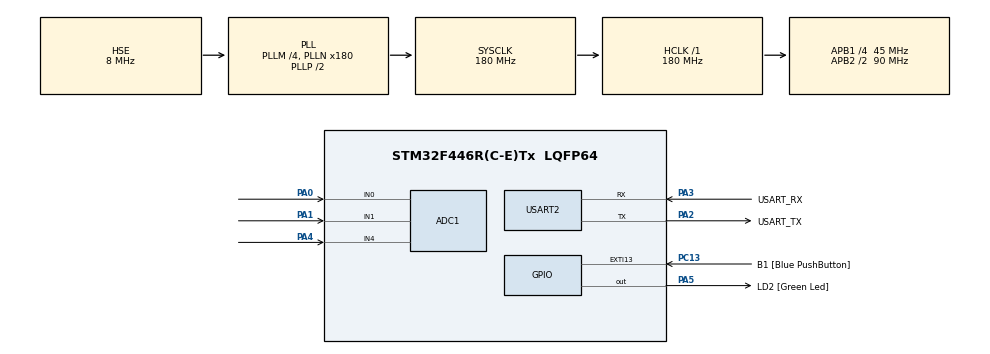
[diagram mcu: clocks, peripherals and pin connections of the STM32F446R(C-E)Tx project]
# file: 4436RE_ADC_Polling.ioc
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ADC1.Channel-2\#ChannelRegularConversion=ADC_CHANNEL_0
ADC1.Channel-3\#ChannelRegularConversion=ADC_CHANNEL_1
ADC1.Channel-4\#ChannelRegularConversion=ADC_CHANNEL_4
ADC1.ContinuousConvMode=ENABLE
ADC1.NbrOfConversion=3
ADC1.NbrOfConversionFlag=1
ADC1.Rank-2\#ChannelRegularConversion=1
ADC1.Rank-3\#ChannelRegularConversion=2
ADC1.Rank-4\#ChannelRegularConversion=3
ADC1.SamplingTime-2\#ChannelRegularConversion=ADC_SAMPLETIME_480CYCLES
ADC1.SamplingTime-3\#ChannelRegularConversion=ADC_SAMPLETIME_480CYCLES
ADC1.SamplingTime-4\#ChannelRegularConversion=ADC_SAMPLETIME_480CYCLES
ADC1.ScanConvMode=ENABLE
ADC1.master=1
Mcu.Family=STM32F4
Mcu.Name=STM32F446R(C-E)Tx
Mcu.Package=LQFP64
NVIC.PriorityGroup=NVIC_PRIORITYGROUP_0
PA0-WKUP.Signal=ADCx_IN0
PA1.Signal=ADCx_IN1
PA13.GPIO_Label=TMS
PA13.Mode=Serial_Wire
PA13.Signal=SYS_JTMS-SWDIO
PA14.GPIO_Label=TCK
PA14.Mode=Serial_Wire
PA14.Signal=SYS_JTCK-SWCLK
PA2.GPIO_Label=USART_TX
PA2.Mode=Asynchronous
PA2.Signal=USART2_TX
PA3.GPIO_Label=USART_RX
PA3.Mode=Asynchronous
PA3.Signal=USART2_RX
PA4.Signal=ADCx_IN4
PA5.GPIO_Label=LD2 [Green Led]
PA5.Signal=GPIO_Output
PB3.GPIO_Label=SWO
PB3.Signal=SYS_JTDO-SWO
PC13.GPIO_Label=B1 [Blue PushButton]
PC13.GPIO_ModeDefaultEXTI=GPIO_MODE_IT_FALLING
PC13.Signal=GPXTI13
PC14-OSC32_IN.Mode=LSE-External-Oscillator
PC14-OSC32_IN.Signal=RCC_OSC32_IN
PC15-OSC32_OUT.Mode=LSE-External-Oscillator
PC15-OSC32_OUT.Signal=RCC_OSC32_OUT
PH0-OSC_IN.Mode=HSE-External-Oscillator
PH0-OSC_IN.Signal=RCC_OSC_IN
PH1-OSC_OUT.Mode=HSE-External-Oscillator
PH1-OSC_OUT.Signal=RCC_OSC_OUT
ProjectManager.HeapSize=0x200
ProjectManager.StackSize=0x400
ProjectManager.TargetToolchain=TrueSTUDIO
RCC.48MHZClocksFreq_Value=84000000
RCC.AHBFreq_Value=180000000
RCC.APB1CLKDivider=RCC_HCLK_DIV4
RCC.APB1Freq_Value=45000000
RCC.APB1TimFreq_Value=90000000
RCC.APB2CLKDivider=RCC_HCLK_DIV2
RCC.APB2Freq_Value=90000000
RCC.APB2TimFreq_Value=180000000
RCC.CortexFreq_Value=180000000
RCC.FLatency-AdvancedSettings=FLASH_LATENCY_5
RCC.HCLKFreq_Value=180000000
RCC.HSE_VALUE=8000000
RCC.HSI_VALUE=16000000
RCC.PLLM=4
RCC.PLLN=180
RCC.PLLSourceVirtual=RCC_PLLSOURCE_HSE
RCC.SYSCLKFreq_VALUE=180000000
RCC.SYSCLKSource=RCC_SYSCLKSOURCE_PLLCLK
RCC.USBFreq_Value=180000000
RCC.VCOOutputFreq_Value=360000000
SH.ADCx_IN0.0=ADC1_IN0,IN0
SH.ADCx_IN1.0=ADC1_IN1,IN1
SH.ADCx_IN4.0=ADC1_IN4,IN4
USART2.VirtualMode=VM_ASYNC
board=NUCLEO-F446RE

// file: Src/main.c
/**
  ******************************************************************************
  * @file           : main.c
  * @brief          : Main program body
  ******************************************************************************
  ** This notice applies to any and all portions of this file
  * that are not between comment pairs USER CODE BEGIN and
  * USER CODE END. Other portions of this file, whether
  * inserted by the user or by software development tools
  * are owned by their respective copyright owners.
  *
  * COPYRIGHT(c) 2018 STMicroelectronics
  *
  * Redistribution and use in source and binary forms, with or without modification,
  * are permitted provided that the following conditions are met:
  *   1. Redistributions of source code must retain the above copyright notice,
  *      this list of conditions and the following disclaimer.
  *   2. Redistributions in binary form must reproduce the above copyright notice,
  *      this list of conditions and the following disclaimer in the documentation
  *      and/or other materials provided with the distribution.
  *   3. Neither the name of STMicroelectronics nor the names of its contributors
  *      may be used to endorse or promote products derived from this software
  *      without specific prior written permission.
  *
  * THIS SOFTWARE IS PROVIDED BY THE COPYRIGHT HOLDERS AND CONTRIBUTORS "AS IS"
  * AND ANY EXPRESS OR IMPLIED WARRANTIES, INCLUDING, BUT NOT LIMITED TO, THE
  * IMPLIED WARRANTIES OF MERCHANTABILITY AND FITNESS FOR A PARTICULAR PURPOSE ARE
  * DISCLAIMED. IN NO EVENT SHALL THE COPYRIGHT HOLDER OR CONTRIBUTORS BE LIABLE
  * FOR ANY DIRECT, INDIRECT, INCIDENTAL, SPECIAL, EXEMPLARY, OR CONSEQUENTIAL
  * DAMAGES (INCLUDING, BUT NOT LIMITED TO, PROCUREMENT OF SUBSTITUTE GOODS OR
  * SERVICES; LOSS OF USE, DATA, OR PROFITS; OR BUSINESS INTERRUPTION) HOWEVER
  * CAUSED AND ON ANY THEORY OF LIABILITY, WHETHER IN CONTRACT, STRICT LIABILITY,
  * OR TORT (INCLUDING NEGLIGENCE OR OTHERWISE) ARISING IN ANY WAY OUT OF THE USE
  * OF THIS SOFTWARE, EVEN IF ADVISED OF THE POSSIBILITY OF SUCH DAMAGE.
  *
  ******************************************************************************
  */
#include "main.h"
#include "stm32f4xx_hal.h"

ADC_HandleTypeDef hadc1;

UART_HandleTypeDef huart2;

/* USER CODE BEGIN PV */
/* Private variables ---------------------------------------------------------*/

/* USER CODE END PV */

void SystemClock_Config(void);
static void MX_GPIO_Init(void);
static void MX_USART2_UART_Init(void);
static void MX_ADC1_Init(void);

/* USER CODE BEGIN PFP */
/* Private function prototypes -----------------------------------------------*/

/* USER CODE END PFP */

/* USER CODE BEGIN 0 */
#ifdef __GNUC__
int _write(int file,uint8_t*ptr,int len)
{
	HAL_UART_Transmit(&huart2,ptr,len,1000);
return len;
}
#elif (__ICCARM__||__CC_ARM)
int fputc(int c,FILE*stream)
{
	HAL_UART_Transmit(&huart2,(uint8_t*)&c,1,1000);
	return c;
}
#endif
/* USER CODE END 0 */

int main(void)
{

  /* MCU Configuration----------------------------------------------------------*/

  /* Reset of all peripherals, Initializes the Flash interface and the Systick. */
  HAL_Init();

  /* Configure the system clock */
  SystemClock_Config();

  /* Initialize all configured peripherals */
  MX_GPIO_Init();
  MX_USART2_UART_Init();
  MX_ADC1_Init();

  /* Infinite loop */
  /* USER CODE BEGIN WHILE */
  uint32_t value1,value2,value3,count=0;
  while (1)
  {

  /* USER CODE END WHILE */

  /* USER CODE BEGIN 3 */
	  HAL_ADC_Start(&hadc1);
	  HAL_ADC_PollForConversion(&hadc1,100);
	  value1 = HAL_ADC_GetValue(&hadc1);
	  HAL_ADC_PollForConversion(&hadc1,100);
	  value2 = HAL_ADC_GetValue(&hadc1);
	  HAL_ADC_PollForConversion(&hadc1,100);
	  value3 = HAL_ADC_GetValue(&hadc1);
	  HAL_ADC_Stop(&hadc1);

	  printf("data : %7lu,%7lu,%7lu : %7lu\r\n",value1,value2,value3,count++);
	  // HAL_Delay(100);

  }
  /* USER CODE END 3 */

}

void SystemClock_Config(void)
{

  RCC_OscInitTypeDef RCC_OscInitStruct;
  RCC_ClkInitTypeDef RCC_ClkInitStruct;

    /**Configure the main internal regulator output voltage
    */
  __HAL_RCC_PWR_CLK_ENABLE();

  __HAL_PWR_VOLTAGESCALING_CONFIG(PWR_REGULATOR_VOLTAGE_SCALE1);

    /**Initializes the CPU, AHB and APB busses clocks
    */
  RCC_OscInitStruct.OscillatorType = RCC_OSCILLATORTYPE_HSE;
  RCC_OscInitStruct.HSEState = RCC_HSE_ON;
  RCC_OscInitStruct.PLL.PLLState = RCC_PLL_ON;
  RCC_OscInitStruct.PLL.PLLSource = RCC_PLLSOURCE_HSE;
  RCC_OscInitStruct.PLL.PLLM = 4;
  RCC_OscInitStruct.PLL.PLLN = 180;
  RCC_OscInitStruct.PLL.PLLP = RCC_PLLP_DIV2;
  RCC_OscInitStruct.PLL.PLLQ = 2;
  RCC_OscInitStruct.PLL.PLLR = 2;
  if (HAL_RCC_OscConfig(&RCC_OscInitStruct) != HAL_OK)
  {
    _Error_Handler(__FILE__, __LINE__);
  }

    /**Activate the Over-Drive mode
    */
  if (HAL_PWREx_EnableOverDrive() != HAL_OK)
  {
    _Error_Handler(__FILE__, __LINE__);
  }

    /**Initializes the CPU, AHB and APB busses clocks
    */
  RCC_ClkInitStruct.ClockType = RCC_CLOCKTYPE_HCLK|RCC_CLOCKTYPE_SYSCLK
                              |RCC_CLOCKTYPE_PCLK1|RCC_CLOCKTYPE_PCLK2;
  RCC_ClkInitStruct.SYSCLKSource = RCC_SYSCLKSOURCE_PLLCLK;
  RCC_ClkInitStruct.AHBCLKDivider = RCC_SYSCLK_DIV1;
  RCC_ClkInitStruct.APB1CLKDivider = RCC_HCLK_DIV4;
  RCC_ClkInitStruct.APB2CLKDivider = RCC_HCLK_DIV2;

  if (HAL_RCC_ClockConfig(&RCC_ClkInitStruct, FLASH_LATENCY_5) != HAL_OK)
  {
    _Error_Handler(__FILE__, __LINE__);
  }

    /**Configure the Systick interrupt time
    */
  HAL_SYSTICK_Config(HAL_RCC_GetHCLKFreq()/1000);

    /**Configure the Systick
    */
  HAL_SYSTICK_CLKSourceConfig(SYSTICK_CLKSOURCE_HCLK);

  /* SysTick_IRQn interrupt configuration */
  HAL_NVIC_SetPriority(SysTick_IRQn, 0, 0);
}

/* ADC1 init function */
static void MX_ADC1_Init(void)
{

  ADC_ChannelConfTypeDef sConfig;

    /**Configure the global features of the ADC (Clock, Resolution, Data Alignment and number of conversion)
    */
  hadc1.Instance = ADC1;
  hadc1.Init.ClockPrescaler = ADC_CLOCK_SYNC_PCLK_DIV4;
  hadc1.Init.Resolution = ADC_RESOLUTION_12B;
  hadc1.Init.ScanConvMode = ENABLE;
  hadc1.Init.ContinuousConvMode = ENABLE;
  hadc1.Init.DiscontinuousConvMode = DISABLE;
  hadc1.Init.ExternalTrigConvEdge = ADC_EXTERNALTRIGCONVEDGE_NONE;
  hadc1.Init.ExternalTrigConv = ADC_SOFTWARE_START;
  hadc1.Init.DataAlign = ADC_DATAALIGN_RIGHT;
  hadc1.Init.NbrOfConversion = 3;
  hadc1.Init.DMAContinuousRequests = DISABLE;
  hadc1.Init.EOCSelection = ADC_EOC_SINGLE_CONV;
  if (HAL_ADC_Init(&hadc1) != HAL_OK)
  {
    _Error_Handler(__FILE__, __LINE__);
  }

    /**Configure for the selected ADC regular channel its corresponding rank in the sequencer and its sample time.
    */
  sConfig.Channel = ADC_CHANNEL_0;
  sConfig.Rank = 1;
  sConfig.SamplingTime = ADC_SAMPLETIME_480CYCLES;
  if (HAL_ADC_ConfigChannel(&hadc1, &sConfig) != HAL_OK)
  {
    _Error_Handler(__FILE__, __LINE__);
  }

    /**Configure for the selected ADC regular channel its corresponding rank in the sequencer and its sample time.
    */
  sConfig.Channel = ADC_CHANNEL_1;
  sConfig.Rank = 2;
  if (HAL_ADC_ConfigChannel(&hadc1, &sConfig) != HAL_OK)
  {
    _Error_Handler(__FILE__, __LINE__);
  }

    /**Configure for the selected ADC regular channel its corresponding rank in the sequencer and its sample time.
    */
  sConfig.Channel = ADC_CHANNEL_4;
  sConfig.Rank = 3;
  if (HAL_ADC_ConfigChannel(&hadc1, &sConfig) != HAL_OK)
  {
    _Error_Handler(__FILE__, __LINE__);
  }

}

/* USART2 init function */
static void MX_USART2_UART_Init(void)
{

  huart2.Instance = USART2;
  huart2.Init.BaudRate = 115200;
  huart2.Init.WordLength = UART_WORDLENGTH_8B;
  huart2.Init.StopBits = UART_STOPBITS_1;
  huart2.Init.Parity = UART_PARITY_NONE;
  huart2.Init.Mode = UART_MODE_TX_RX;
  huart2.Init.HwFlowCtl = UART_HWCONTROL_NONE;
  huart2.Init.OverSampling = UART_OVERSAMPLING_16;
  if (HAL_UART_Init(&huart2) != HAL_OK)
  {
    _Error_Handler(__FILE__, __LINE__);
  }

}

/** Configure pins as
        * Analog
        * Input
        * Output
        * EVENT_OUT
        * EXTI
*/
static void MX_GPIO_Init(void)
{

  GPIO_InitTypeDef GPIO_InitStruct;

  /* GPIO Ports Clock Enable */
  __HAL_RCC_GPIOC_CLK_ENABLE();
  __HAL_RCC_GPIOH_CLK_ENABLE();
  __HAL_RCC_GPIOA_CLK_ENABLE();
  __HAL_RCC_GPIOB_CLK_ENABLE();

  /*Configure GPIO pin Output Level */
  HAL_GPIO_WritePin(LD2_GPIO_Port, LD2_Pin, GPIO_PIN_RESET);

  /*Configure GPIO pin : B1_Pin */
  GPIO_InitStruct.Pin = B1_Pin;
  GPIO_InitStruct.Mode = GPIO_MODE_IT_FALLING;
  GPIO_InitStruct.Pull = GPIO_NOPULL;
  HAL_GPIO_Init(B1_GPIO_Port, &GPIO_InitStruct);

  /*Configure GPIO pin : LD2_Pin */
  GPIO_InitStruct.Pin = LD2_Pin;
  GPIO_InitStruct.Mode = GPIO_MODE_OUTPUT_PP;
  GPIO_InitStruct.Pull = GPIO_NOPULL;
  GPIO_InitStruct.Speed = GPIO_SPEED_FREQ_LOW;
  HAL_GPIO_Init(LD2_GPIO_Port, &GPIO_InitStruct);

}

void _Error_Handler(char *file, int line)
{
  while(1)
  {
  }
}

/************************ (C) COPYRIGHT STMicroelectronics *****END OF FILE****/
